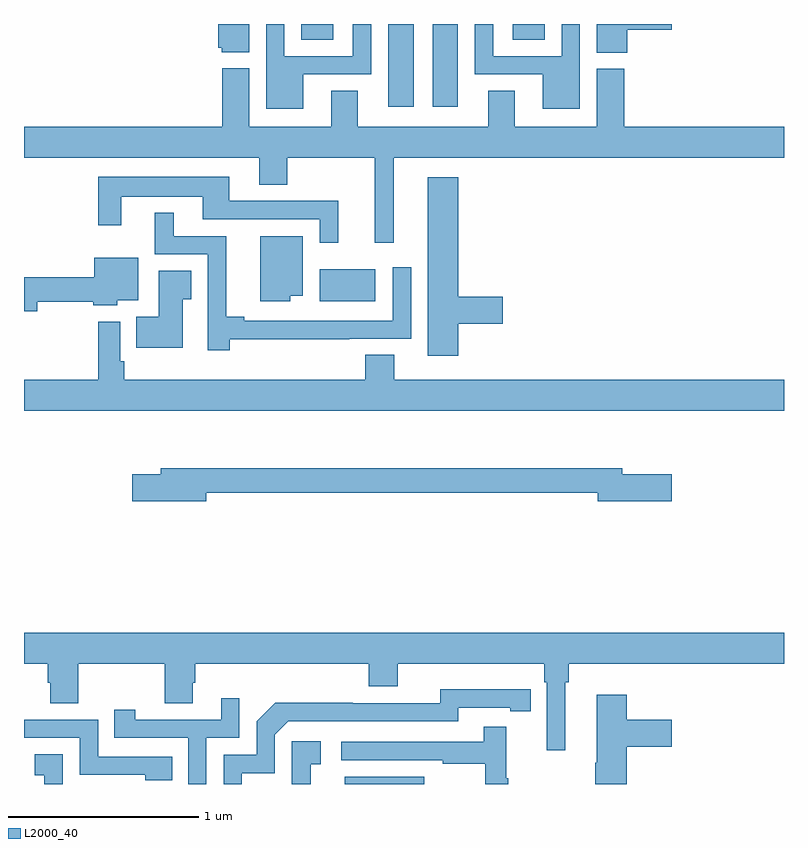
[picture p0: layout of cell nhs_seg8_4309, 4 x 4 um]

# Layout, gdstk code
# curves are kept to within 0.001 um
import gdstk
lib = gdstk.Library(unit=1e-6, precision=1e-09)
def R(c, l, rs):  # rectangles x0, y0, x1, y1
    for r in rs: c.add(gdstk.rectangle(r[:2], r[2:], *l))
def P(c, l, *ps):  # polygons
    for p in ps: c.add(gdstk.Polygon(p, *l))
L2000_40 = (2000, 40)

nhs_seg8_4309 = lib.new_cell('nhs_seg8_4309')
R(nhs_seg8_4309, L2000_40, [(376.688,1083.9,377.107,1083.937), (376.556,1086.44,376.849,1086.61), (376.916,1087.464,377.05,1087.9), (377.15,1087.464,377.284,1087.9), (376.46,1087.816,376.627,1087.9), (377.573,1087.816,377.74,1087.9)])
P(nhs_seg8_4309, L2000_40, [(376.471,1087.635),(376.827,1087.635),(376.827,1087.9),(376.731,1087.9),(376.731,1087.731),(376.371,1087.731),(376.371,1087.9),(376.275,1087.9),(376.275,1087.454),(376.471,1087.454)],
  [(378.176,1087.871),(378.409,1087.871),(378.409,1087.9),(378.014,1087.9),(378.014,1087.75),(378.176,1087.75)],
  [(377.925,1087.9),(377.829,1087.9),(377.829,1087.731),(377.469,1087.731),(377.469,1087.9),(377.373,1087.9),(377.373,1087.635),(377.729,1087.635),(377.729,1087.454),(377.925,1087.454)],
  [(376.186,1087.9),(376.022,1087.9),(376.022,1087.776),(376.041,1087.776),(376.041,1087.751),(376.186,1087.751)],
  [(376.946,1087.196),(379,1087.196),(379,1087.36),(378.158,1087.36),(378.158,1087.665),(378.014,1087.665),(378.014,1087.36),(377.584,1087.36),(377.584,1087.55),(377.444,1087.55),(377.444,1087.36),(376.756,1087.36),(376.756,1087.55),(376.616,1087.55),(376.616,1087.36),(376.186,1087.36),(376.186,1087.666),(376.043,1087.666),(376.043,1087.36),(375,1087.36),(375,1087.196),(376.238,1087.196),(376.238,1087.054),(376.386,1087.054),(376.386,1087.196),(376.847,1087.196),(376.847,1086.75),(376.946,1086.75)],
  [(376.655,1086.969),(376.081,1086.969),(376.081,1087.096),(375.39,1087.096),(375.39,1086.84),(375.511,1086.84),(375.511,1086.992),(375.941,1086.992),(375.941,1086.873),(376.557,1086.873),(376.557,1086.75),(376.655,1086.75)],
  [(377.285,1086.322),(377.521,1086.322),(377.521,1086.464),(377.285,1086.464),(377.285,1087.093),(377.126,1087.093),(377.126,1086.153),(377.285,1086.153)],
  [(376.082,1086.242),(376.712,1086.242),(376.712,1086.243),(377.037,1086.243),(377.037,1086.619),(376.941,1086.619),(376.941,1086.339),(376.159,1086.339),(376.159,1086.359),(376.064,1086.359),(376.064,1086.783),(375.787,1086.783),(375.787,1086.907),(375.689,1086.907),(375.689,1086.687),(375.966,1086.687),(375.966,1086.183),(376.082,1086.183)],
  [(376.402,1086.47),(376.468,1086.47),(376.468,1086.784),(376.244,1086.784),(376.244,1086.44),(376.402,1086.44)],
  [(375.07,1086.438),(375.364,1086.438),(375.364,1086.419),(375.492,1086.419),(375.492,1086.446),(375.601,1086.446),(375.601,1086.67),(375.371,1086.67),(375.371,1086.566),(375,1086.566),(375,1086.388),(375.07,1086.388)],
  [(375.835,1086.451),(375.881,1086.451),(375.881,1086.602),(375.71,1086.602),(375.71,1086.358),(375.592,1086.358),(375.592,1086.197),(375.835,1086.197)],
  [(379,1086.028),(376.948,1086.028),(376.948,1086.158),(376.796,1086.158),(376.796,1086.028),(375.527,1086.028),(375.527,1086.124),(375.507,1086.124),(375.507,1086.334),(375.391,1086.334),(375.391,1086.028),(375,1086.028),(375,1085.864),(379,1085.864)],
  [(375.958,1085.434),(378.02,1085.434),(378.02,1085.387),(378.409,1085.387),(378.409,1085.529),(378.148,1085.529),(378.148,1085.563),(375.719,1085.563),(375.719,1085.529),(375.57,1085.529),(375.57,1085.387),(375.958,1085.387)],
  [(377.848,1084.436),(377.867,1084.436),(377.867,1084.532),(379,1084.532),(379,1084.696),(375,1084.696),(375,1084.532),(375.125,1084.532),(375.125,1084.434),(375.137,1084.434),(375.137,1084.324),(375.285,1084.324),(375.285,1084.532),(375.742,1084.532),(375.742,1084.324),(375.889,1084.324),(375.889,1084.434),(375.902,1084.434),(375.902,1084.532),(376.814,1084.532),(376.814,1084.415),(376.966,1084.415),(376.966,1084.532),(377.738,1084.532),(377.738,1084.436),(377.751,1084.436),(377.751,1084.077),(377.848,1084.077)],
  [(376.147,1083.957),(376.32,1083.957),(376.32,1084.158),(376.392,1084.23),(377.286,1084.23),(377.286,1084.302),(377.558,1084.302),(377.558,1084.282),(377.666,1084.282),(377.666,1084.398),(377.19,1084.399),(377.19,1084.326),(376.73,1084.326),(376.73,1084.328),(376.322,1084.328),(376.224,1084.23),(376.224,1084.053),(376.05,1084.053),(376.05,1083.9),(376.147,1083.9)],
  [(378.173,1084.097),(378.409,1084.097),(378.409,1084.239),(378.173,1084.239),(378.173,1084.369),(378.014,1084.369),(378.014,1084.013),(378.007,1084.013),(378.007,1083.9),(378.173,1083.9)],
  [(375.96,1084.143),(376.134,1084.143),(376.134,1084.351),(376.037,1084.351),(376.037,1084.239),(375.586,1084.239),(375.586,1084.291),(375.475,1084.291),(375.475,1084.143),(375.864,1084.143),(375.864,1083.9),(375.96,1083.9)],
  [(375.779,1084.044),(375.39,1084.044),(375.39,1084.239),(375,1084.239),(375,1084.143),(375.294,1084.143),(375.294,1083.948),(375.639,1083.948),(375.639,1083.921),(375.779,1083.921)],
  [(377.548,1083.929),(377.537,1083.929),(377.537,1084.201),(377.419,1084.201),(377.419,1084.122),(376.671,1084.122),(376.671,1084.026),(377.203,1084.026),(377.203,1084.006),(377.427,1084.006),(377.427,1083.9),(377.548,1083.9)],
  [(376.508,1084.005),(376.561,1084.005),(376.561,1084.126),(376.41,1084.126),(376.41,1083.9),(376.508,1083.9)],
  [(375.204,1084.057),(375.057,1084.057),(375.057,1083.947),(375.106,1083.947),(375.106,1083.9),(375.204,1083.9)])

lib.write_gds('nhs_seg8_4309.gds')
